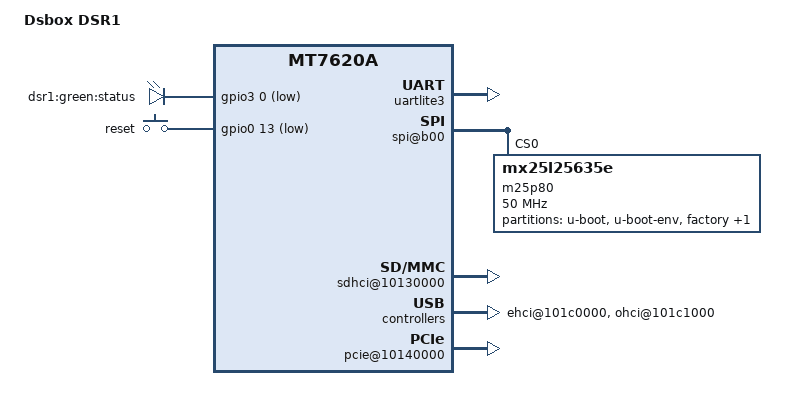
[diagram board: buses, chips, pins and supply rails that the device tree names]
/dts-v1/;

/include/ "mt7620a.dtsi"

/ {
	compatible = "dsbox-dsr1", "ralink,mt7620a-soc";
	model = "Dsbox DSR1";

	chosen {
		bootargs = "console=ttyS0,115200";
	};

	uartlite3 {
		status = "okay";
	};

	palmbus@10000000 {

		gpio0: gpio@600 {
			status = "okay";
		};

		gpio1: gpio@638 {
			status = "okay";
		};

		gpio2: gpio@660 {
			status = "okay";
		};

		gpio3: gpio@688 {
			status = "okay";
		};

		spi@b00 {
			status = "okay";

			m25p80@0 {
				#address-cells = <1>;
				#size-cells = <1>;
				compatible = "mx25l25635e";
				reg = <0 0>;
				linux,modalias = "m25p80", "mx25l25635e";
				spi-max-frequency = <50000000>;

				partition@0 {
					label = "u-boot";
					reg = <0x0 0x30000>;
				};

				partition@30000 {
					label = "u-boot-env";
					reg = <0x30000 0x10000>;
				};

				factory: partition@40000 {
					label = "factory";
					reg = <0x40000 0x10000>;
				};

				partition@50000 {
					label = "firmware";
					reg = <0x50000 0x1fb0000>;
				};
			};
		};
	};

	sdhci@10130000 {
		compatible = "ralink,mt7620-sdhci";
		reg = <0x10130000 4000>;
		interrupt-parent = <&intc>;
		interrupts = <14>;
		status = "okay";
	};

	ehci@101c0000 {
		status = "okay";
	};

	ohci@101c1000 {
		status = "okay";
	};

	ethernet@10100000 {
		pinctrl-names = "default";
		pinctrl-0 = <&ephy_pins>;
		mtd-mac-address = <&factory 0x4>;
		ralink,port-map = "llllw";
	};

	wmac@10180000 {
		ralink,mtd-eeprom = <&factory 0>;
	};

	pcie@10140000 {
		status = "okay";

		pcie-bridge {
			mt76@0,0 {
				reg = <0x0000 0 0 0 0>;
				device_type = "pci";
				mediatek,mtd-eeprom = <&factory 0x8000>;
				mediatek,5ghz = <0>;
			};
		};
	};

	pinctrl {
		state_default: pinctrl0 {
			default {
				ralink,group = "i2c", "uartf", "rgmii1", "rgmii2", "wled", "nd_sd";
				ralink,function = "gpio";
			};

			pa {
				ralink,group = "pa";
				ralink,function = "pa";
			};
		};
	};

	gpio-leds {
		compatible = "gpio-leds";

		green {
			label = "dsr1:green:status";
			gpios = <&gpio3 0 1>;
		};

	};

	gpio-keys-polled {
		compatible = "gpio-keys-polled";
		#address-cells = <1>;
		#size-cells = <0>;
		poll-interval = <20>;

		reset {
			label = "reset";
			gpios = <&gpio0 13 1>;
			linux,code = <0x198>;
		};
	};	
};
